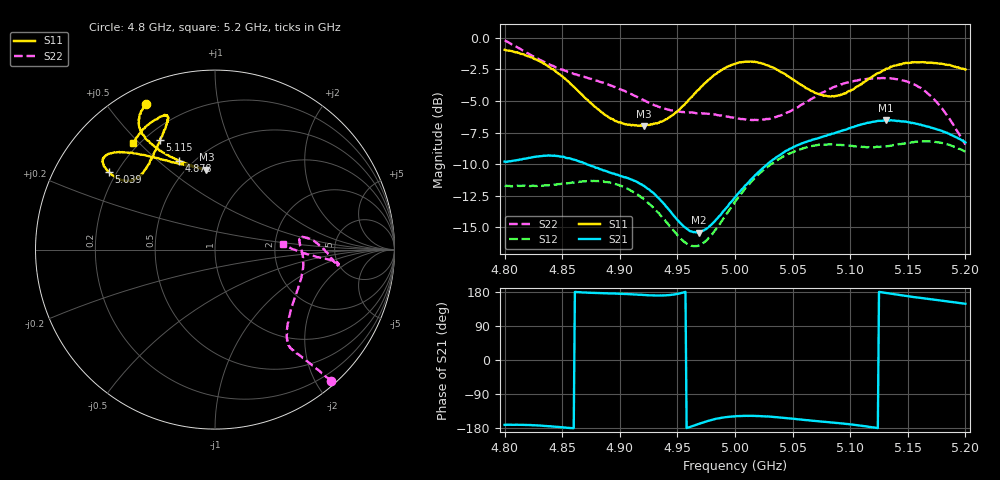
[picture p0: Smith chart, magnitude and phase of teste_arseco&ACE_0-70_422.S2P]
! Network Analyzer HP8722D
! Hewlett-Packard
! Data name: Linha & Wilkinson
! Saver's name: Rodrigo Anjos
! Comments: Teste da utilização de aquisição
! continua pelo VNA HP8722D
! Time and date: 8/5/2025 16:16
!  Frequency  S11  S21  S12  S22
# HZ  S  MA R 50
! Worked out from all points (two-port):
!   401 points, 4.8 GHz to 5.2 GHz, reference 50 ohm
!   highest |S21| = -6.52 dB at 5.131 GHz (marker M1); lowest = -15.4 dB at 4.969 GHz (marker M2)
!   |S21| within 3 dB of the highest: 4.82 GHz to 4.855 GHz (34.1 MHz wide, 0.705 % of centre); 5.035 GHz to end of sweep
!   lowest |S11| = -7.0 dB at 4.921 GHz (marker M3), VSWR 2.62, Z = 30.8 + j34.4 ohm
!   |S11| at or under -10 dB: nowhere
!   |S22| runs from -8.5 to -0.2 dB; largest |S21 - S12| = 0.83
!   S11 on the Smith chart (normalised r, x): 4.8 GHz: 0.08, +0.63; 4.878 GHz: 0.42, +0.59; 5.039 GHz: 0.17, +0.32; 5.115 GHz: 0.26, +0.59; 5.2 GHz: 0.18, +0.48
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4.8e9  0.8959 115.3  0.3237 -171.2  0.2596 -86.4  0.9752 -48.4
4.834e9  0.7901 121.9  0.3414 -173.8  0.2605 -77.5  0.8031 -50.5
4.85e9  0.7037 121.3  0.3386 -177.7  0.2646 -72.4  0.7471 -51.4
4.867e9  0.5959 117.1  0.3225 178.4  0.27 -68.5  0.7049 -52.3
4.878e9  0.5346 112.0  0.3084 176.9  0.2714 -67.4  0.6807 -52.5
4.901e9  0.4618 100.0  0.2838 174.8  0.2597 -68.4  0.624 -50.2
4.921e9  0.4481 96.2  0.2598 171.5  0.2295 -70.5  0.5652 -43.4
4.934e9  0.461 100.6  0.231 170.1  0.2021 -70.4  0.5325 -36.3
4.956e9  0.542 116.2  0.1785 178.7  0.1559 -59.6  0.5072 -22.0
4.969e9  0.6261 124.6  0.1695 -168.2  0.1512 -44.9  0.5039 -14.5
5e9  0.788 137.1  0.2337 -148.7  0.2248 -21.9  0.4814 -0.2
5.019e9  0.8009 141.4  0.29 -147.9  0.2834 -19.7  0.4732 5.6
5.039e9  0.7343 143.8  0.3436 -151.6  0.3327 -20.1  0.4911 8.3
5.067e9  0.6141 141.3  0.3949 -160.0  0.3732 -22.5  0.5743 3.0
5.088e9  0.5885 132.4  0.4223 -166.0  0.3773 -25.7  0.6431 -3.7
5.115e9  0.6822 116.6  0.4612 -175.7  0.3688 -28.5  0.6872 -7.2
5.131e9  0.753 111.0  0.4721 177.0  0.3723 -30.2  0.6909 -6.7
5.134e9  0.7586 110.2  0.4697 175.6  0.3733 -30.7  0.6911 -6.4
5.148e9  0.7949 109.8  0.466 169.2  0.3829 -33.4  0.6736 -5.5
5.163e9  0.8008 112.6  0.45 163.1  0.3892 -37.8  0.6242 -4.8
5.18e9  0.7884 118.8  0.4275 156.3  0.3833 -43.3  0.5231 -3.0
5.2e9  0.7486 127.7  0.3853 148.4  0.3545 -48.8  0.3777 4.6
